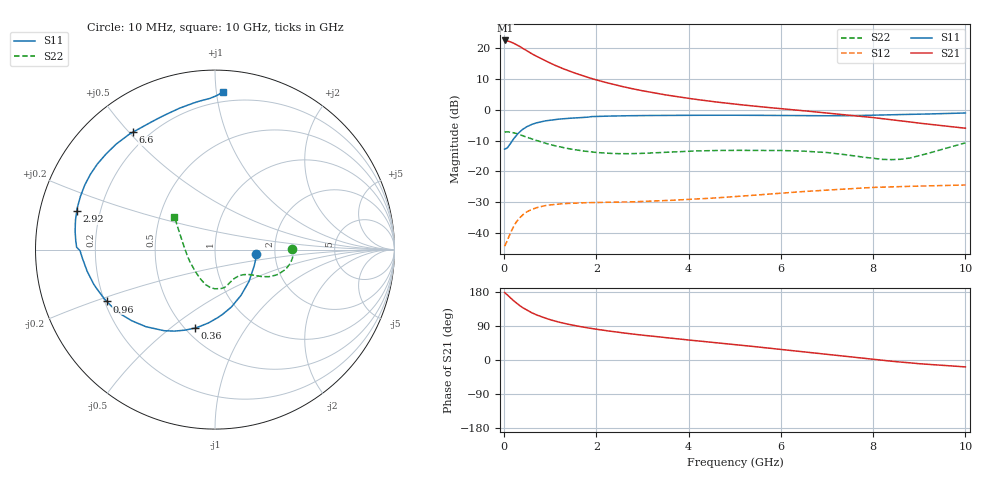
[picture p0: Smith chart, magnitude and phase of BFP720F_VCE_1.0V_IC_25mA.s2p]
! Infineon Technologies  Discrete & RF Semiconductors
! BFP720F
! VCE =  1.0 V,  IC =  25 mA
! Common Emitter S-Parameters:  Jan 2016
# GHz  S  MA  R  50
!  f  S11  S21  S12  S22
! GHz  MAG  ANG  MAG  ANG  MAG  ANG  MAG  ANG
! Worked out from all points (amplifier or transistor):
!   233 points, 10 MHz to 10 GHz, reference 50 ohm
!   highest |S21| = 22.3 dB at 20 MHz (marker M1)
!   |S21| within 3 dB of that: start of sweep to 457.9 MHz
!   unconditionally stable (mu >= 1): start of sweep to end of sweep
!   at 200 MHz: K = 2.48, MAG = 23.0 dB, |S12| = -38.0 dB
!   at 1.74 GHz: K = 1.88, MAG = 15.1 dB, |S12| = -30.1 dB
!   at 10 GHz: K = 3.55, MAG = 0.8 dB, |S12| = -24.4 dB
!   S11 on the Smith chart (normalised r, x): 10 MHz: 1.59, -0.08; 360 MHz: 0.56, -0.61; 960 MHz: 0.21, -0.22; 2.92 GHz: 0.11, +0.14; 6.6 GHz: 0.14, +0.51; 10 GHz: 0.13, +1.04
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0.01  0.2301 -6.2  13.06 178.0  0.0062 7.2  0.4292 0.8
0.02  0.2337 -8.6  13.11 177.0  0.0064 13.7  0.4361 -1.3
0.1  0.2596 -43.2  12.7 168.3  0.0087 32.9  0.4352 -5.7
0.15  0.293 -60.3  12.35 162.3  0.0106 39.2  0.4301 -8.6
0.2  0.3325 -74.0  11.89 156.8  0.0126 42.2  0.4224 -11.5
0.28  0.3934 -91.4  11.05 148.9  0.0158 42.5  0.407 -15.6
0.36  0.4522 -104.6  10.27 141.7  0.0185 41.1  0.3894 -19.1
0.45  0.5071 -116.4  9.359 134.6  0.0212 38.7  0.3689 -22.6
0.6  0.5765 -131.8  7.986 124.6  0.0244 34.1  0.335 -26.8
0.8  0.6372 -145.8  6.704 114.3  0.0271 29.2  0.2993 -30.1
0.96  0.6682 -154.4  5.832 107.8  0.0285 26.2  0.2766 -31.9
1.1  0.6901 -160.5  5.21 102.7  0.0294 24.1  0.2604 -33.3
1.3  0.7131 -167.6  4.516 96.7  0.0302 21.9  0.2413 -35.4
1.68  0.7435 -177.3  3.576 87.6  0.0311 19.4  0.2163 -39.8
2.2  0.7836 173.7  2.748 77.6  0.0318 18.2  0.1977 -47.9
2.92  0.8 164.3  2.071 66.7  0.0326 19.3  0.1953 -60.0
3.4  0.805 159.3  1.783 60.4  0.0336 20.5  0.2028 -66.6
5.1  0.8095 143.1  1.205 39.4  0.0397 24.4  0.2193 -81.5
6.6  0.7985 125.0  0.941 20.1  0.0479 23.2  0.2106 -98.4
6.8  0.7954 122.1  0.909 17.5  0.049 22.8  0.2062 -101.5
8.4  0.8248 98.5  0.686 -3.2  0.0565 16.5  0.1553 -153.8
10  0.8813 87.2  0.5 -18.2  0.0604 11.3  0.2899 141.3
